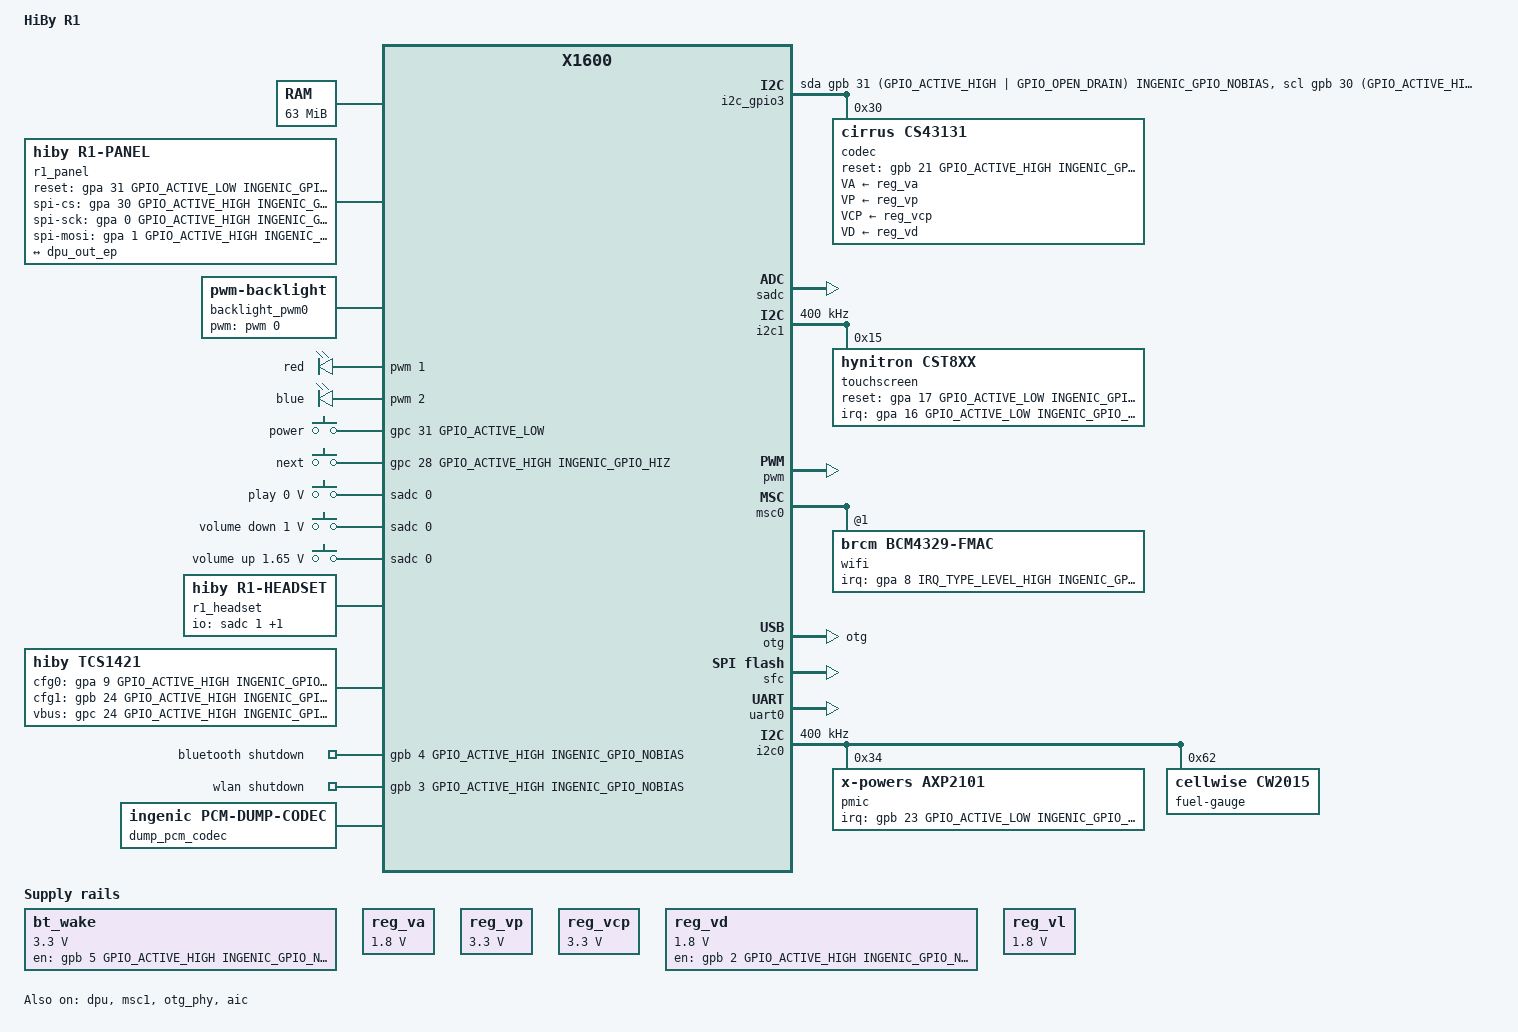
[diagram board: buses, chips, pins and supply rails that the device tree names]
// SPDX-License-Identifier: GPL-2.0
// Copyright (C) 2026 ajiekc905
/*
 * HiBy R1 (Ingenic X1600E, 64 MB) on the Ingenic 6.6 SDK kernel.
 *
 * Pin, clock and timing values come from the device's stock firmware
 * (its device tree and module scripts). The TCU, watchdog and RTC nodes
 * stay off: the dev loop arms the TCU watchdog before kexec and nothing
 * here may touch it. No UART: the R1 has no console pins, and the boot
 * log goes to the RAM ring (soc-x1600/r1ring.c).
 */

/dts-v1/;

#include <dt-bindings/gpio/gpio.h>
#include <dt-bindings/input/input.h>
#include <dt-bindings/interrupt-controller/irq.h>
#include "x1600.dtsi"

/ {
	model = "HiBy R1";
	compatible = "hiby,r1", "ingenic,x1600";

	/* top 1 MiB = dev-loop log ring, not RAM */
	memory@0 {
		device_type = "memory";
		reg = <0x0 0x03f00000>;
	};

	/*
	 * 480x800 TFT, RGB888 pin positions without the two low bits of each
	 * colour (PA8/9 and PA16/17 belong to the TCS1421 strap and the touch
	 * controller). Init by 3-wire SPI on GPIOs. Controller LG (lcd-id 0) or
	 * ST7701S (1): 4.4 reads it from ADC channel 3 (> 999 mV = ST7701S);
	 * this unit reads 1 mV. Rails bldo2 (vccio) and bldo1 (vcc) of the
	 * AXP2101 are not described until the PMIC driver exists; in the dev
	 * loop 4.4 leaves them on.
	 */
	r1_panel: r1-panel {
		compatible = "hiby,r1-panel";
		pinctrl-names = "default";
		pinctrl-0 = <&r1_tft>;
		reset-gpios = <&gpa 31 GPIO_ACTIVE_LOW INGENIC_GPIO_NOBIAS>;
		spi-cs-gpios = <&gpa 30 GPIO_ACTIVE_HIGH INGENIC_GPIO_NOBIAS>;
		spi-sck-gpios = <&gpa 0 GPIO_ACTIVE_HIGH INGENIC_GPIO_NOBIAS>;
		spi-mosi-gpios = <&gpa 1 GPIO_ACTIVE_HIGH INGENIC_GPIO_NOBIAS>;
		hiby,lcd-id = <0>;
		port {
			r1_panel_ep: endpoint {
				remote-endpoint = <&dpu_out_ep>;
			};
		};
	};
};

/* stock pwm_backlight.sh: PC00, 30 kHz, 0..101, active high */
/ {
	backlight_pwm0: backlight_pwm0 {
		compatible = "pwm-backlight";
		pwms = <&pwm 0 33333>;
		brightness-levels = <0 101>;
		num-interpolated-steps = <101>;
		default-brightness-level = <28>;
	};

	/* stock leds_pwm_add.sh: red PC01, blue PC02, 10 kHz, 0..100 */
	leds {
		compatible = "pwm-leds";
		led-red {
			label = "red";
			pwms = <&pwm 1 100000>;
			max-brightness = <100>;
		};
		led-blue {
			label = "blue";
			pwms = <&pwm 2 100000>;
			max-brightness = <100>;
		};
	};
};

/* stock keyboard_gpio_add.sh and keyboard_adc_multifunc.sh */
/ {
	gpio-keys {
		compatible = "gpio-keys";
		key-power {
			label = "power";
			gpios = <&gpc 31 GPIO_ACTIVE_LOW INGENIC_GPIO_PULLUP>;
			linux,code = <KEY_POWER>;
			debounce-interval = <20>;
			wakeup-source;
		};
		key-next {
			label = "next";
			gpios = <&gpc 28 GPIO_ACTIVE_HIGH INGENIC_GPIO_HIZ>;
			linux,code = <KEY_NEXTSONG>;
			debounce-interval = <20>;
			wakeup-source;
		};
	};

	adc-keys {
		compatible = "adc-keys";
		io-channels = <&sadc 0>;
		io-channel-names = "buttons";
		keyup-threshold-microvolt = <2800000>;
		poll-interval = <50>;
		key-play {
			label = "play";
			linux,code = <KEY_PLAYPAUSE>;
			press-threshold-microvolt = <0>;
		};
		key-voldown {
			label = "volume down";
			linux,code = <KEY_VOLUMEDOWN>;
			press-threshold-microvolt = <1000000>;
		};
		key-volup {
			label = "volume up";
			linux,code = <KEY_VOLUMEUP>;
			press-threshold-microvolt = <1650000>;
		};
	};
};

&sadc {
	status = "okay";
	#io-channel-cells = <1>;
};

/* stock soc_i2c.sh + cst8xx_touch.sh; the controller's rail is AXP2101 aldo2.
 * clk-always-enable: the SDK's own x1600.dtsi pins the i2c0 clock on, and
 * per-transfer gating times out on i2c1 (#27: 5x pio timeouts probing
 * the touch at 0x15 with correct pins) */
&i2c1 {
	status = "okay";
	pinctrl-names = "default";
	pinctrl-0 = <&i2c1_pb_f0>;
	clock-frequency = <400000>;
	clk-always-enable;
	touchscreen@15 {
		compatible = "hynitron,cst8xx";
		status = "okay";
		reg = <0x15>;
		reset-gpios = <&gpa 17 GPIO_ACTIVE_LOW INGENIC_GPIO_NOBIAS>;
		irq-gpios = <&gpa 16 GPIO_ACTIVE_LOW INGENIC_GPIO_NOBIAS>;
		touchscreen-max-x = <479>;
		touchscreen-max-y = <799>;
	};
};

&pwm {
	status = "okay";
	pinctrl-names = "default";
	pinctrl-0 = <&pwm0_pc &pwm1_pc &pwm2_pc>;
};

&dpu {
	status = "okay";
	port {
		dpu_out_ep: endpoint {
			remote-endpoint = <&r1_panel_ep>;
		};
	};
};

&msc1 {
	status = "okay";
	pinctrl-names = "default", "off";
	pinctrl-0 = <&msc1_4bit>;
	pinctrl-1 = <&msc1_off>;
	bus-width = <4>;
	max-frequency = <50000000>;
	voltage-ranges = <3300 3300>;
	cap-sd-highspeed;
	ingenic,removal-removable;
	ingenic,cd-gpios = <&gpb 22 GPIO_ACTIVE_LOW INGENIC_GPIO_NOBIAS>;
	ingenic,pwr-gpios = <&gpc 25 GPIO_ACTIVE_HIGH INGENIC_GPIO_NOBIAS>;
};

/*
 * AP6212A Wi-Fi (BCM43430A1) on MSC0, PB12..PB17 function 0 as 4.4 muxes
 * them; stock soc_msc.sh: 4 bit, 50 MHz, 1.8..3.3 V, keep power. No card
 * at probe: init raises WL_REG_ON (rfkill "wlan") and writes INSERT to
 * the host's "present" once the firmware is reachable, then brcmfmac binds.
 */
&msc0 {
	status = "okay";
	pinctrl-names = "default";
	pinctrl-0 = <&msc0_4bit_f0>;
	bus-width = <4>;
	max-frequency = <50000000>;
	voltage-ranges = <1800 3300>;
	cap-sd-highspeed;
	keep-power-in-suspend;
	ingenic,removal-nonremovable;
	#address-cells = <1>;
	#size-cells = <0>;

	/* in-band SDIO interrupts got lost (every dcmd timed out after ~30 s,
	 * #60); stock cywdhd takes WL_HOST_WAKE on PA08 instead */
	wifi@1 {
		reg = <1>;
		compatible = "brcm,bcm4329-fmac";
		interrupt-parent = <&gpa>;
		interrupts = <8 IRQ_TYPE_LEVEL_HIGH INGENIC_GPIO_NOBIAS>;
		interrupt-names = "host-wake";
	};
};


/*
 * MSC1 bus driven low while the card has no VDD: left as MSC pins (CMD
 * driven, DAT pulled up) the card is fed through them, misses its power-on
 * reset and then never reports ready to ACMD41 (2026-11-07 dev-loop trace).
 */
&pinctrl {
	r1_pins: r1-pins {
		msc1_off: msc1-off {
			ingenic,pinmux = <&gpd 0 5>;
			ingenic,pinmux-funcsel = <PINCTL_FUNCLOLVL>;
		};
		r1_tft: r1-tft {
			ingenic,pinmux = <&gpa 2 7>, <&gpa 10 15>, <&gpa 18 27>;
			ingenic,pinmux-funcsel = <PINCTL_FUNCTION0>;
		};
		/* stock soc_aic.sh: PB25 DO, PB26 MCLK, PB27 BCLK, PB28 LRCLK.
		 * The SDK aic_pb group also muxes PB21-PB24 (codec reset, SD CD,
		 * AXP IRQ, TCS strap), so the R1 uses its own range. */
		i2s_pb: i2s-pb {
			ingenic,pinmux = <&gpb 25 28>;
			ingenic,pinmux-funcsel = <PINCTL_FUNCTION0>;
		};
	};
};

&otg_phy {
	status = "okay";
};

&otg {
	status = "okay";
	dr_mode = "otg";
	usb-role-switch;
	role-switch-default-mode = "peripheral";
};

&sfc {
	status = "okay";
	pinctrl-names = "default";
	pinctrl-0 = <&sfc_pc>;
	ingenic,sfc-init-frequency = <200000000>;
	ingenic,sfc-max-frequency = <400000000>;
	ingenic,use_ofpart_info = /bits/ 8 <0>;
	ingenic,spiflash_param_offset = <0>;
};

&cpufreq { status = "disabled"; };
&tcu { status = "disabled"; };
&watchdog { status = "disabled"; };
&rtc { status = "disabled"; };
/* AP6212A BT: H4 on uart0 (PB07..PB10, stock bt_init: /dev/ttyS0 3 Mbaud,
 * brcm_patchram_plus from userspace). Power as 4.4 cywdhd glue: BT_REG_ON
 * PB04, BT_WAKE PB05 high, 32 kHz on PC26 (func0). */
/* extclk (ingenic,fixed-clock) never gets a driver, so fw_devlink held
 * uart0 until the deferred-probe timeout (ttyS0 at 19 s); the driver takes
 * gate_uart0 by name and never used this clock */
&uart0 {
	status = "okay";
	pinctrl-names = "default";
	pinctrl-0 = <&uart0_pb>;
	/delete-property/ clocks;
	/delete-property/ clock-names;
};

/ {
	r1_headset: r1-headset {
		compatible = "hiby,r1-headset";
		io-channels = <&sadc 1>, <&sadc 2>;
		io-channel-names = "headset", "remote";
	};

	tcs1421 {
		compatible = "hiby,tcs1421";
		cfg0-gpios = <&gpa 9 GPIO_ACTIVE_HIGH INGENIC_GPIO_NOBIAS>;
		cfg1-gpios = <&gpb 24 GPIO_ACTIVE_HIGH INGENIC_GPIO_NOBIAS>;
		vbus-gpios = <&gpc 24 GPIO_ACTIVE_HIGH INGENIC_GPIO_NOBIAS>;
		usb-role = <&otg>;
	};

	bt_wake: regulator-bt-wake {
		compatible = "regulator-fixed";
		regulator-name = "bt_wake";
		regulator-min-microvolt = <3300000>;
		regulator-max-microvolt = <3300000>;
		gpio = <&gpb 5 GPIO_ACTIVE_HIGH INGENIC_GPIO_NOBIAS>;
		enable-active-high;
		regulator-always-on;
	};

	bt_rfkill: bt-rfkill {
		compatible = "rfkill-gpio";
		label = "bluetooth";
		radio-type = "bluetooth";
		shutdown-gpios = <&gpb 4 GPIO_ACTIVE_HIGH INGENIC_GPIO_NOBIAS>;
		pinctrl-names = "default";
		pinctrl-0 = <&rtc32k_enable>;
	};

	wl_rfkill: wl-rfkill {
		compatible = "rfkill-gpio";
		label = "wlan";
		radio-type = "wlan";
		shutdown-gpios = <&gpb 3 GPIO_ACTIVE_HIGH INGENIC_GPIO_NOBIAS>;
	};
};
&uart1 { status = "disabled"; };
&uart2 { status = "disabled"; };
&uart3 { status = "disabled"; };
/* stock soc_i2c.sh: AXP2101 at 0x34, cw2015 at 0x62 */
&i2c0 {
	status = "okay";
	pinctrl-names = "default";
	pinctrl-0 = <&i2c0_pa>;
	clock-frequency = <400000>;
	clk-always-enable;
	pmic: pmic@34 {
		compatible = "x-powers,axp2101";
		reg = <0x34>;
		irq-gpios = <&gpb 23 GPIO_ACTIVE_LOW INGENIC_GPIO_NOBIAS>;
	};
	fuel-gauge@62 {
		compatible = "cellwise,cw2015";
		reg = <0x62>;
		cellwise,battery-profile = [18 0a 65 65 69 6a 6a 68 66 61 5f 59 53 4f 4a 46 42 3b 33 29 24 33 45 4b 27 21 0c cd 20 40 43 4a 4f 4d 4e 4e 3c 1a 65 30 09 43 11 38 70 9a b5 1e 44 77 97 9b 80 cd ff cb 2f 00 64 a5 b5 08 40 99];
		cellwise,monitor-interval-ms = <1000>;
	};
};

/* stock tcs1421_add.sh: cfg0 PA09, cfg1 PB24, NormalDRP (both hi). In the
 * dev loop 4.4 sets the straps before kexec and they persist; gpio-hog does
 * not take on this pinctrl-integrated gpiochip (checked in debug/gpio), so
 * the role driver belongs with the USB-DAC work, not here. */

/* stock codec_cs43131.sh: CS43131 on bit-bang bus 3 (PB30/PB31, 200 kHz),
 * power PB02, reset PB21. The mainline cs43130 driver takes the codec power
 * rail as the VD regulator enable, so probe powers the codec before it
 * reads the chip ID. regulator-fixed takes its enable from "gpio"
 * ("enable-gpios" is a regulator-gpio property and is silently ignored
 * here: PB02 then stays wherever 4.4 left it, low, and the codec NACKs and
 * plays noise once a stream starts). Its INT pin is not wired on the R1,
 * so no interrupts (patch 0011 makes the IRQ optional). */
/ {
	reg_va: regulator-va {
		compatible = "regulator-fixed";
		regulator-name = "VA";
		regulator-min-microvolt = <1800000>;
		regulator-max-microvolt = <1800000>;
		regulator-always-on;
	};
	reg_vp: regulator-vp {
		compatible = "regulator-fixed";
		regulator-name = "VP";
		regulator-min-microvolt = <3300000>;
		regulator-max-microvolt = <3300000>;
		regulator-always-on;
	};
	reg_vcp: regulator-vcp {
		compatible = "regulator-fixed";
		regulator-name = "VCP";
		regulator-min-microvolt = <3300000>;
		regulator-max-microvolt = <3300000>;
		regulator-always-on;
	};
	reg_vd: regulator-vd {
		compatible = "regulator-fixed";
		regulator-name = "VD";
		regulator-min-microvolt = <1800000>;
		regulator-max-microvolt = <1800000>;
		gpio = <&gpb 2 GPIO_ACTIVE_HIGH INGENIC_GPIO_NOBIAS>;
		enable-active-high;
		startup-delay-us = <10000>;
	};
	reg_vl: regulator-vl {
		compatible = "regulator-fixed";
		regulator-name = "VL";
		regulator-min-microvolt = <1800000>;
		regulator-max-microvolt = <1800000>;
		regulator-always-on;
	};

	i2c_gpio3: i2c-gpio-3 {
		compatible = "i2c-gpio";
		status = "okay";
		sda-gpios = <&gpb 31 (GPIO_ACTIVE_HIGH | GPIO_OPEN_DRAIN) INGENIC_GPIO_NOBIAS>;
		scl-gpios = <&gpb 30 (GPIO_ACTIVE_HIGH | GPIO_OPEN_DRAIN) INGENIC_GPIO_NOBIAS>;
		i2c-gpio,delay-us = <5>;
		#address-cells = <1>;
		#size-cells = <0>;
		codec: codec@30 {
			compatible = "cirrus,cs43131";
			reg = <0x30>;
			reset-gpios = <&gpb 21 GPIO_ACTIVE_HIGH INGENIC_GPIO_NOBIAS>;
			VA-supply = <&reg_va>;
			VP-supply = <&reg_vp>;
			VCP-supply = <&reg_vcp>;
			VD-supply = <&reg_vd>;
			VL-supply = <&reg_vl>;
		};
	};

	dump_pcm_codec: dump-pcm-codec {
		compatible = "ingenic,pcm-dump-codec";
	};

	/* stock x1600_hiby_r1_sound_card.sh: one I2S link, AIC master.
	 * Link 2 is the AIC transmit-FIFO loopback, for bring-up capture. */
	sound {
		compatible = "ingenic,x1600-sound";
		ingenic,model = "hiby-r1";
		ingenic,dai-link = "i2s-ecodec", "i2s-tloop";
		ingenic,stream = "i2s-ecodec", "i2s-tloop";
		ingenic,cpu-dai = <&i2s>, <&i2s_tloop>;
		ingenic,platform = <&aic>, <&i2s_tloop>;
		ingenic,codec = <&codec>, <&dump_pcm_codec>;
		ingenic,codec-dai = "cs43130-asp-pcm", "pcm-dump";
	};
};

&aic {
	status = "okay";
	pinctrl-names = "default";
	pinctrl-0 = <&i2s_pb>;
};
&can0 { status = "disabled"; };
&can1 { status = "disabled"; };
&cdbus { status = "disabled"; };
&aes { status = "disabled"; };
&hash { status = "disabled"; };
&mac0 { status = "disabled"; };
&mcu { status = "disabled"; };
&efuse { status = "disabled"; };
